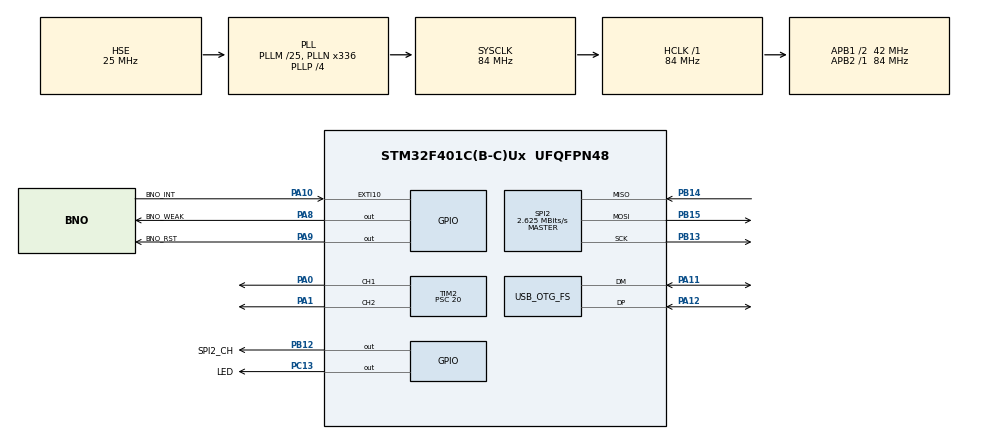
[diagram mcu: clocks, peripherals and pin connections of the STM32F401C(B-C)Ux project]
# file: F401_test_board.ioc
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Dma.Request0=SPI2_RX
Dma.Request1=SPI2_TX
Dma.SPI2_RX.0.Direction=DMA_PERIPH_TO_MEMORY
Dma.SPI2_RX.0.FIFOMode=DMA_FIFOMODE_DISABLE
Dma.SPI2_RX.0.Instance=DMA1_Stream3
Dma.SPI2_RX.0.MemDataAlignment=DMA_MDATAALIGN_BYTE
Dma.SPI2_RX.0.MemInc=DMA_MINC_ENABLE
Dma.SPI2_RX.0.Mode=DMA_NORMAL
Dma.SPI2_RX.0.PeriphDataAlignment=DMA_PDATAALIGN_BYTE
Dma.SPI2_RX.0.PeriphInc=DMA_PINC_DISABLE
Dma.SPI2_RX.0.Priority=DMA_PRIORITY_LOW
Dma.SPI2_TX.1.Direction=DMA_MEMORY_TO_PERIPH
Dma.SPI2_TX.1.FIFOMode=DMA_FIFOMODE_DISABLE
Dma.SPI2_TX.1.Instance=DMA1_Stream4
Dma.SPI2_TX.1.MemDataAlignment=DMA_MDATAALIGN_BYTE
Dma.SPI2_TX.1.MemInc=DMA_MINC_ENABLE
Dma.SPI2_TX.1.Mode=DMA_NORMAL
Dma.SPI2_TX.1.PeriphDataAlignment=DMA_PDATAALIGN_BYTE
Dma.SPI2_TX.1.PeriphInc=DMA_PINC_DISABLE
Dma.SPI2_TX.1.Priority=DMA_PRIORITY_LOW
FREERTOS.Tasks01=defaultTask,24,128,StartDefaultTask,Default,NULL,Dynamic,NULL,NULL;myTask02,8,256,StartTask02,Default,NULL,Dynamic,NULL,NULL
FREERTOS.configENABLE_FPU=1
FREERTOS.configUSE_NEWLIB_REENTRANT=1
Mcu.Family=STM32F4
Mcu.Name=STM32F401C(B-C)Ux
Mcu.Package=UFQFPN48
NVIC.DMA1_Stream3_IRQn=true\:5\:0\:false\:false\:true\:true\:false\:true\:true
NVIC.DMA1_Stream4_IRQn=true\:5\:0\:false\:false\:true\:true\:false\:true\:true
NVIC.EXTI15_10_IRQn=true\:5\:0\:false\:false\:true\:true\:true\:true\:true
NVIC.OTG_FS_IRQn=true\:5\:0\:false\:false\:true\:true\:false\:true\:true
NVIC.PriorityGroup=NVIC_PRIORITYGROUP_4
NVIC.TIM1_UP_TIM10_IRQn=true\:15\:0\:false\:false\:true\:false\:false\:true\:true
NVIC.TIM2_IRQn=true\:5\:0\:false\:false\:true\:true\:true\:true\:true
NVIC.TimeBase=TIM1_UP_TIM10_IRQn
NVIC.TimeBaseIP=TIM1
PA0-WKUP.Signal=S_TIM2_CH1_ETR
PA1.Signal=S_TIM2_CH2
PA10.GPIO_Label=BNO_INT
PA10.GPIO_ModeDefaultEXTI=GPIO_MODE_IT_FALLING
PA10.GPIO_PuPd=GPIO_PULLUP
PA10.Signal=GPXTI10
PA11.Mode=Device_Only
PA11.Signal=USB_OTG_FS_DM
PA12.Mode=Device_Only
PA12.Signal=USB_OTG_FS_DP
PA13.Mode=Serial_Wire
PA13.Signal=SYS_JTMS-SWDIO
PA14.Mode=Serial_Wire
PA14.Signal=SYS_JTCK-SWCLK
PA8.GPIO_Label=BNO_WEAK
PA8.Signal=GPIO_Output
PA9.GPIO_Label=BNO_RST
PA9.Signal=GPIO_Output
PB12.GPIO_Label=SPI2_CH
PB12.Signal=GPIO_Output
PB13.Mode=Full_Duplex_Master
PB13.Signal=SPI2_SCK
PB14.Mode=Full_Duplex_Master
PB14.Signal=SPI2_MISO
PB15.Mode=Full_Duplex_Master
PB15.Signal=SPI2_MOSI
PC13-ANTI_TAMP.GPIO_Label=LED
PC13-ANTI_TAMP.Signal=GPIO_Output
PC14-OSC32_IN.Mode=LSE-External-Oscillator
PC14-OSC32_IN.Signal=RCC_OSC32_IN
PC15-OSC32_OUT.Mode=LSE-External-Oscillator
PC15-OSC32_OUT.Signal=RCC_OSC32_OUT
PH0\ -\ OSC_IN.Mode=HSE-External-Oscillator
PH0\ -\ OSC_IN.Signal=RCC_OSC_IN
PH1\ -\ OSC_OUT.Mode=HSE-External-Oscillator
PH1\ -\ OSC_OUT.Signal=RCC_OSC_OUT
ProjectManager.HeapSize=0x200
ProjectManager.StackSize=0x400
ProjectManager.TargetToolchain=STM32CubeIDE
RCC.48MHZClocksFreq_Value=48000000
RCC.AHBFreq_Value=84000000
RCC.APB1CLKDivider=RCC_HCLK_DIV2
RCC.APB1Freq_Value=42000000
RCC.APB1TimFreq_Value=84000000
RCC.APB2Freq_Value=84000000
RCC.APB2TimFreq_Value=84000000
RCC.CortexFreq_Value=84000000
RCC.HCLKFreq_Value=84000000
RCC.HSE_VALUE=25000000
RCC.HSI_VALUE=16000000
RCC.PLLM=25
RCC.PLLN=336
RCC.PLLP=RCC_PLLP_DIV4
RCC.PLLQ=7
RCC.SYSCLKFreq_VALUE=84000000
RCC.SYSCLKSource=RCC_SYSCLKSOURCE_PLLCLK
RCC.VCOOutputFreq_Value=336000000
SH.S_TIM2_CH1_ETR.0=TIM2_CH1,PWM Generation1 CH1
SH.S_TIM2_CH2.0=TIM2_CH2,PWM Generation2 CH2
SPI2.BaudRatePrescaler=SPI_BAUDRATEPRESCALER_16
SPI2.CLKPhase=SPI_PHASE_2EDGE
SPI2.CLKPolarity=SPI_POLARITY_HIGH
SPI2.CalculateBaudRate=2.625 MBits/s
SPI2.Direction=SPI_DIRECTION_2LINES
SPI2.Mode=SPI_MODE_MASTER
SPI2.VirtualType=VM_MASTER
TIM2.Channel-PWM\ Generation1\ CH1=TIM_CHANNEL_1
TIM2.Channel-PWM\ Generation2\ CH2=TIM_CHANNEL_2
TIM2.OCFastMode_PWM-PWM\ Generation1\ CH1=TIM_OCFAST_DISABLE
TIM2.Period=80000
TIM2.Prescaler=20
USB_DEVICE.CLASS_NAME_FS=CDC
USB_DEVICE.VirtualMode=Cdc
USB_DEVICE.VirtualModeFS=Cdc_FS
USB_OTG_FS.VirtualMode=Device_Only
VP_FREERTOS_VS_CMSIS_V2.Mode=CMSIS_V2
VP_SYS_VS_tim1.Mode=TIM1
VP_USB_DEVICE_VS_USB_DEVICE_CDC_FS.Mode=CDC_FS
board=custom

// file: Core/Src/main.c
/* USER CODE BEGIN Header */
/**
  ******************************************************************************
  * @file           : main.c
  * @brief          : Main program body
  ******************************************************************************
  * @attention
  *
  * Copyright (c) 2024 STMicroelectronics.
  * All rights reserved.
  *
  * This software is licensed under terms that can be found in the LICENSE file
  * in the root directory of this software component.
  * If no LICENSE file comes with this software, it is provided AS-IS.
  *
  ******************************************************************************
  */
/* USER CODE END Header */
#include "main.h"
#include "cmsis_os.h"
#include "usb_device.h"

/* USER CODE BEGIN Includes */

#include "usbd_cdc_if.h"

#include <stdio.h>
#include <stdbool.h>
#include <string.h>

#include "BNO080.h"
#include "quaternion.h"

/* USER CODE END Includes */

SPI_HandleTypeDef hspi2;
DMA_HandleTypeDef hdma_spi2_rx;
DMA_HandleTypeDef hdma_spi2_tx;

TIM_HandleTypeDef htim2;

/* Definitions for defaultTask */
osThreadId_t defaultTaskHandle;
const osThreadAttr_t defaultTask_attributes = {
  .name = "defaultTask",
  .stack_size = 128 * 4,
  .priority = (osPriority_t) osPriorityNormal,
};
/* Definitions for myTask02 */
osThreadId_t myTask02Handle;
const osThreadAttr_t myTask02_attributes = {
  .name = "myTask02",
  .stack_size = 256 * 4,
  .priority = (osPriority_t) osPriorityLow,
};
/* USER CODE BEGIN PV */

extern uint8_t UserTxBufferFS[32];

float q[4];
float quatRadianAccuracy;
char str[100];

/* USER CODE END PV */

void SystemClock_Config(void);
static void MX_GPIO_Init(void);
static void MX_DMA_Init(void);
static void MX_SPI2_Init(void);
static void MX_TIM2_Init(void);
void StartDefaultTask(void *argument);
void StartTask02(void *argument);

/* USER CODE BEGIN 0 */

volatile int test_number = 0, test_number2 = 0, test_number3 = 0;

//void HAL_GPIO_EXTI_Callback(uint16_t GPIO_Pin)
//{
//	if (GPIO_Pin == BNO_INT_Pin){
//		osThreadFlagsSet(myTask02Handle, 1);
//		test_number++;
//	}
//}

void HAL_SPI_TxRxCpltCallback(SPI_HandleTypeDef *hspi){
	if(hspi->Instance == SPI2){
		//test_number3++;
	}
}

void sendStringOverUSB(char *str) {
    uint16_t len = strlen(str); // Get the length of the string
    CDC_Transmit_FS((uint8_t*)str, len); // Transmit the string over USB
}

void servo_deg(float deg) {
	deg >= 180 ? deg = 180 : deg;
	//deg == 0 ? deg = 0 : deg;
	TIM2->CCR2 = 7500 - (deg * 17.5);
}
/* USER CODE END 0 */

int main(void)
{

  /* MCU Configuration--------------------------------------------------------*/

  /* Reset of all peripherals, Initializes the Flash interface and the Systick. */
  HAL_Init();

  /* Configure the system clock */
  SystemClock_Config();

  /* Initialize all configured peripherals */
  MX_GPIO_Init();
  MX_DMA_Init();
  MX_SPI2_Init();
  MX_TIM2_Init();
  /* USER CODE BEGIN 2 */

  BNO080_Initialization();
  //HAL_GPIO_TogglePin(GPIOC, GPIO_PIN_13);
  HAL_Delay(100);

  BNO080_enableRotationVector(2500); //enable rotation vector at 400Hz
  //HAL_GPIO_TogglePin(GPIOC, GPIO_PIN_13);
  HAL_Delay(100);

  HAL_TIM_PWM_Start_IT(&htim2, TIM_CHANNEL_1);
  HAL_TIM_PWM_Start_IT(&htim2, TIM_CHANNEL_2);

 TIM2->CCR2 = 10500;

  /* USER CODE END 2 */

  /* Init scheduler */
  osKernelInitialize();

  /* Create the thread(s) */
  /* creation of defaultTask */
  defaultTaskHandle = osThreadNew(StartDefaultTask, NULL, &defaultTask_attributes);

  /* creation of myTask02 */
  myTask02Handle = osThreadNew(StartTask02, NULL, &myTask02_attributes);

  /* Start scheduler */
  osKernelStart();

  /* We should never get here as control is now taken by the scheduler */

  /* Infinite loop */
  while (1)
  {

  }
}

void SystemClock_Config(void)
{
  RCC_OscInitTypeDef RCC_OscInitStruct = {0};
  RCC_ClkInitTypeDef RCC_ClkInitStruct = {0};

  /** Configure the main internal regulator output voltage
  */
  __HAL_RCC_PWR_CLK_ENABLE();
  __HAL_PWR_VOLTAGESCALING_CONFIG(PWR_REGULATOR_VOLTAGE_SCALE2);

  /** Initializes the RCC Oscillators according to the specified parameters
  * in the RCC_OscInitTypeDef structure.
  */
  RCC_OscInitStruct.OscillatorType = RCC_OSCILLATORTYPE_HSE;
  RCC_OscInitStruct.HSEState = RCC_HSE_ON;
  RCC_OscInitStruct.PLL.PLLState = RCC_PLL_ON;
  RCC_OscInitStruct.PLL.PLLSource = RCC_PLLSOURCE_HSE;
  RCC_OscInitStruct.PLL.PLLM = 25;
  RCC_OscInitStruct.PLL.PLLN = 336;
  RCC_OscInitStruct.PLL.PLLP = RCC_PLLP_DIV4;
  RCC_OscInitStruct.PLL.PLLQ = 7;
  if (HAL_RCC_OscConfig(&RCC_OscInitStruct) != HAL_OK)
  {
    Error_Handler();
  }

  /** Initializes the CPU, AHB and APB buses clocks
  */
  RCC_ClkInitStruct.ClockType = RCC_CLOCKTYPE_HCLK|RCC_CLOCKTYPE_SYSCLK
                              |RCC_CLOCKTYPE_PCLK1|RCC_CLOCKTYPE_PCLK2;
  RCC_ClkInitStruct.SYSCLKSource = RCC_SYSCLKSOURCE_PLLCLK;
  RCC_ClkInitStruct.AHBCLKDivider = RCC_SYSCLK_DIV1;
  RCC_ClkInitStruct.APB1CLKDivider = RCC_HCLK_DIV2;
  RCC_ClkInitStruct.APB2CLKDivider = RCC_HCLK_DIV1;

  if (HAL_RCC_ClockConfig(&RCC_ClkInitStruct, FLASH_LATENCY_2) != HAL_OK)
  {
    Error_Handler();
  }
}

static void MX_SPI2_Init(void)
{

  /* SPI2 parameter configuration*/
  hspi2.Instance = SPI2;
  hspi2.Init.Mode = SPI_MODE_MASTER;
  hspi2.Init.Direction = SPI_DIRECTION_2LINES;
  hspi2.Init.DataSize = SPI_DATASIZE_8BIT;
  hspi2.Init.CLKPolarity = SPI_POLARITY_HIGH;
  hspi2.Init.CLKPhase = SPI_PHASE_2EDGE;
  hspi2.Init.NSS = SPI_NSS_SOFT;
  hspi2.Init.BaudRatePrescaler = SPI_BAUDRATEPRESCALER_16;
  hspi2.Init.FirstBit = SPI_FIRSTBIT_MSB;
  hspi2.Init.TIMode = SPI_TIMODE_DISABLE;
  hspi2.Init.CRCCalculation = SPI_CRCCALCULATION_DISABLE;
  hspi2.Init.CRCPolynomial = 10;
  if (HAL_SPI_Init(&hspi2) != HAL_OK)
  {
    Error_Handler();
  }

}

static void MX_TIM2_Init(void)
{

  TIM_MasterConfigTypeDef sMasterConfig = {0};
  TIM_OC_InitTypeDef sConfigOC = {0};

  htim2.Instance = TIM2;
  htim2.Init.Prescaler = 20;
  htim2.Init.CounterMode = TIM_COUNTERMODE_UP;
  htim2.Init.Period = 80000;
  htim2.Init.ClockDivision = TIM_CLOCKDIVISION_DIV1;
  htim2.Init.AutoReloadPreload = TIM_AUTORELOAD_PRELOAD_DISABLE;
  if (HAL_TIM_PWM_Init(&htim2) != HAL_OK)
  {
    Error_Handler();
  }
  sMasterConfig.MasterOutputTrigger = TIM_TRGO_RESET;
  sMasterConfig.MasterSlaveMode = TIM_MASTERSLAVEMODE_DISABLE;
  if (HAL_TIMEx_MasterConfigSynchronization(&htim2, &sMasterConfig) != HAL_OK)
  {
    Error_Handler();
  }
  sConfigOC.OCMode = TIM_OCMODE_PWM1;
  sConfigOC.Pulse = 0;
  sConfigOC.OCPolarity = TIM_OCPOLARITY_HIGH;
  sConfigOC.OCFastMode = TIM_OCFAST_DISABLE;
  if (HAL_TIM_PWM_ConfigChannel(&htim2, &sConfigOC, TIM_CHANNEL_1) != HAL_OK)
  {
    Error_Handler();
  }
  if (HAL_TIM_PWM_ConfigChannel(&htim2, &sConfigOC, TIM_CHANNEL_2) != HAL_OK)
  {
    Error_Handler();
  }
  HAL_TIM_MspPostInit(&htim2);

}

static void MX_DMA_Init(void)
{

  /* DMA controller clock enable */
  __HAL_RCC_DMA1_CLK_ENABLE();

  /* DMA interrupt init */
  /* DMA1_Stream3_IRQn interrupt configuration */
  HAL_NVIC_SetPriority(DMA1_Stream3_IRQn, 5, 0);
  HAL_NVIC_EnableIRQ(DMA1_Stream3_IRQn);
  /* DMA1_Stream4_IRQn interrupt configuration */
  HAL_NVIC_SetPriority(DMA1_Stream4_IRQn, 5, 0);
  HAL_NVIC_EnableIRQ(DMA1_Stream4_IRQn);

}

static void MX_GPIO_Init(void)
{
  GPIO_InitTypeDef GPIO_InitStruct = {0};

  /* GPIO Ports Clock Enable */
  __HAL_RCC_GPIOC_CLK_ENABLE();
  __HAL_RCC_GPIOH_CLK_ENABLE();
  __HAL_RCC_GPIOA_CLK_ENABLE();
  __HAL_RCC_GPIOB_CLK_ENABLE();

  /*Configure GPIO pin Output Level */
  HAL_GPIO_WritePin(LED_GPIO_Port, LED_Pin, GPIO_PIN_RESET);

  /*Configure GPIO pin Output Level */
  HAL_GPIO_WritePin(SPI2_CH_GPIO_Port, SPI2_CH_Pin, GPIO_PIN_RESET);

  /*Configure GPIO pin Output Level */
  HAL_GPIO_WritePin(GPIOA, BNO_WEAK_Pin|BNO_RST_Pin, GPIO_PIN_RESET);

  /*Configure GPIO pin : LED_Pin */
  GPIO_InitStruct.Pin = LED_Pin;
  GPIO_InitStruct.Mode = GPIO_MODE_OUTPUT_PP;
  GPIO_InitStruct.Pull = GPIO_NOPULL;
  GPIO_InitStruct.Speed = GPIO_SPEED_FREQ_LOW;
  HAL_GPIO_Init(LED_GPIO_Port, &GPIO_InitStruct);

  /*Configure GPIO pin : SPI2_CH_Pin */
  GPIO_InitStruct.Pin = SPI2_CH_Pin;
  GPIO_InitStruct.Mode = GPIO_MODE_OUTPUT_PP;
  GPIO_InitStruct.Pull = GPIO_NOPULL;
  GPIO_InitStruct.Speed = GPIO_SPEED_FREQ_LOW;
  HAL_GPIO_Init(SPI2_CH_GPIO_Port, &GPIO_InitStruct);

  /*Configure GPIO pins : BNO_WEAK_Pin BNO_RST_Pin */
  GPIO_InitStruct.Pin = BNO_WEAK_Pin|BNO_RST_Pin;
  GPIO_InitStruct.Mode = GPIO_MODE_OUTPUT_PP;
  GPIO_InitStruct.Pull = GPIO_NOPULL;
  GPIO_InitStruct.Speed = GPIO_SPEED_FREQ_LOW;
  HAL_GPIO_Init(GPIOA, &GPIO_InitStruct);

  /*Configure GPIO pin : BNO_INT_Pin */
  GPIO_InitStruct.Pin = BNO_INT_Pin;
  GPIO_InitStruct.Mode = GPIO_MODE_IT_FALLING;
  GPIO_InitStruct.Pull = GPIO_PULLUP;
  HAL_GPIO_Init(BNO_INT_GPIO_Port, &GPIO_InitStruct);

  /* EXTI interrupt init*/
  HAL_NVIC_SetPriority(EXTI15_10_IRQn, 5, 0);
  HAL_NVIC_EnableIRQ(EXTI15_10_IRQn);

}

void StartDefaultTask(void *argument)
{
  /* init code for USB_DEVICE */
  MX_USB_DEVICE_Init();
  for(;;)
  {
  }
}

void StartTask02(void *argument)
{
  /* USER CODE BEGIN StartTask02 */
  /* Infinite loop */
  for(;;)
  {
	  	  osThreadFlagsWait(1, 0, osWaitForever);

	  	  if(BNO080_dataAvailable() == 1)
	  		  {
	  			  q[0] = BNO080_getQuatI();
	  			  q[1] = BNO080_getQuatJ();
	  			  q[2] = BNO080_getQuatK();
	  			  q[3] = BNO080_getQuatReal();
	  			  quatRadianAccuracy = BNO080_getQuatRadianAccuracy();
	  			  Quaternion_Update(&q[0]);

	  			  sprintf(str, "%.2f, %.2f, %.2f\n\r", BNO080_Pitch, BNO080_Roll, BNO080_Yaw);
	  			  sendStringOverUSB(str);

	  		  }
  }
  /* USER CODE END StartTask02 */
}

void HAL_TIM_PeriodElapsedCallback(TIM_HandleTypeDef *htim)
{
  if (htim->Instance == TIM1) {
    HAL_IncTick();
  }
}

void Error_Handler(void)
{
  __disable_irq();
  while (1)
  {
  }
}
